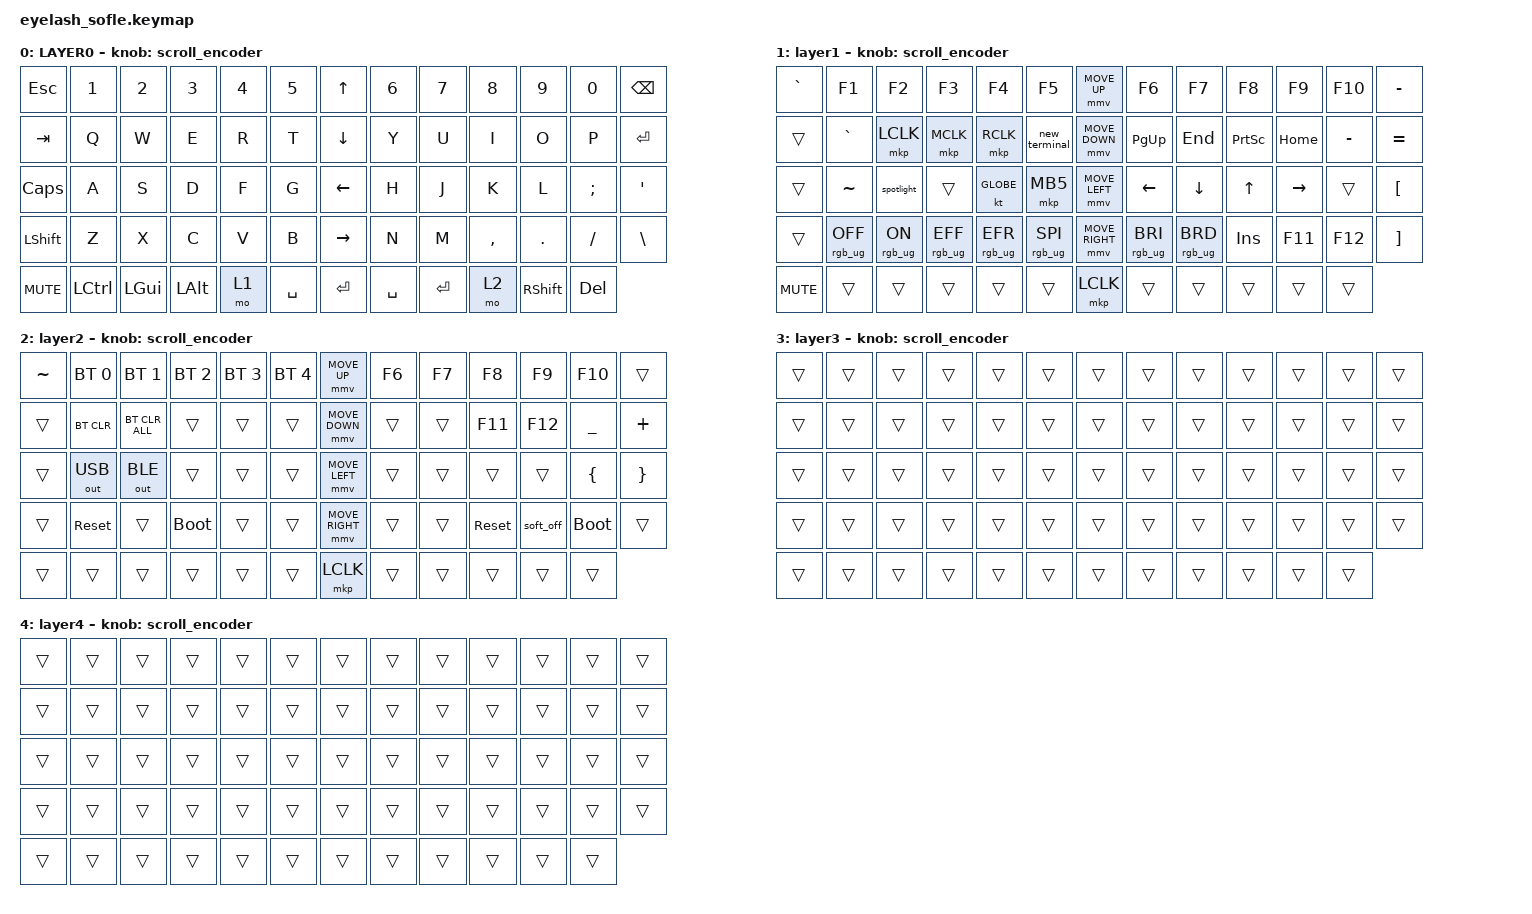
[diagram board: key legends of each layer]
#define ZMK_POINTING_DEFAULT_MOVE_VAL 1200  // 600
#define ZMK_POINTING_DEFAULT_SCRL_VAL 25   // 10

#include <input/processors.dtsi>
#include <zephyr/dt-bindings/input/input-event-codes.h>
#include <behaviors.dtsi>
#include <dt-bindings/zmk/bt.h>
#include <dt-bindings/zmk/keys.h>
#include <dt-bindings/zmk/outputs.h>
#include <dt-bindings/zmk/pointing.h>
#include <dt-bindings/zmk/rgb.h>

&mmv_input_listener { input-processors = <&zip_xy_scaler 2 1>; };

&msc_input_listener { input-processors = <&zip_scroll_scaler 2 1>; };

&msc {
    acceleration-exponent = <1>;      // 0
    time-to-max-speed-ms = <100>;       // 300
    delay-ms = <0>;                   // 0
};

&mmv {
    time-to-max-speed-ms = <500>;
    acceleration-exponent = <1>;
    trigger-period-ms = <16>;
};

&soft_off { hold-time-ms = <2000>; };

/ {
    scroll_encoder: scroll_encoder {
        compatible = "zmk,behavior-sensor-rotate";
        #sensor-binding-cells = <0>;
        bindings = <&msc SCRL_DOWN &msc SCRL_UP>;
        tap-ms = <100>;
    };

    behaviors {
    };

    combos {
        compatible = "zmk,combos";

        softoff {
            bindings = <&soft_off>;
            key-positions = <14 28 40>;
        };
    };

    macros {
        SHIFT_MCLK: SHIFT_MCLK {
            compatible = "zmk,behavior-macro";
            #binding-cells = <0>;
            bindings =
                <&macro_press>,
                <&kp LEFT_SHIFT>,
                <&macro_press>,
                <&mkp MB3>,
                <&macro_pause_for_release>,
                <&macro_release>,
                <&kp LEFT_SHIFT &mkp MB3>;

            label = "SHIFT_MCLK";
        };

        new_terminal: new_terminal {
            compatible = "zmk,behavior-macro";
            #binding-cells = <0>;
            bindings =
                <&macro_press>,
                <&kp LS(LC(GRAVE))>,
                <&macro_release>,
                <&kp LS(LC(GRAVE))>;

            label = "NEW_TERMINAL";
        };

        spotlight: spotlight {
            compatible = "zmk,behavior-macro";
            #binding-cells = <0>;
            bindings =
                <&macro_press>,
                <&kp LG(SPACE)>,
                <&macro_release>,
                <&kp LG(SPACE)>;

            label = "SPOTLIGHT";
        };
    };

    keymap {
        compatible = "zmk,keymap";

        layer0 {
            bindings = <
&kp ESC     &kp N1     &kp N2        &kp N3        &kp N4  &kp N5       &kp UP_ARROW     &kp N6     &kp N7     &kp N8     &kp N9           &kp N0      &kp BACKSPACE
&kp TAB     &kp Q      &kp W         &kp E         &kp R   &kp T        &kp DOWN_ARROW   &kp Y      &kp U      &kp I      &kp O            &kp P       &kp ENTER
&kp CAPS    &kp A      &kp S         &kp D         &kp F   &kp G        &kp LEFT_ARROW   &kp H      &kp J      &kp K      &kp L            &kp SEMI    &kp APOS
&kp LSHFT   &kp Z      &kp X         &kp C         &kp V   &kp B        &kp RIGHT_ARROW  &kp N      &kp M      &kp COMMA  &kp DOT          &kp FSLH    &kp BACKSLASH
&kp K_MUTE  &kp LCTRL  &kp LEFT_GUI  &kp LEFT_ALT  &mo 1   &kp SPACE    &kp ENTER        &kp SPACE  &kp ENTER  &mo 2      &kp RIGHT_SHIFT  &kp DELETE
            >;

            sensor-bindings = <&scroll_encoder>;
            display-name = "LAYER0";
        };

        layer_1 {
            bindings = <
&kp GRAVE   &kp F1           &kp F2          &kp F3           &kp F4           &kp F5             &mmv MOVE_UP     &kp F6           &kp F7           &kp F8           &kp F9     &kp F10    &kp MINUS
&trans      &kp GRAVE        &mkp LCLK       &mkp MCLK        &mkp RCLK        &new_terminal      &mmv MOVE_DOWN   &kp PG_UP        &kp END          &kp PRINTSCREEN  &kp HOME   &kp MINUS  &kp EQUAL
&trans      &kp TILDE        &spotlight      &trans           &kt GLOBE        &mkp MB5           &mmv MOVE_LEFT   &kp LEFT         &kp DOWN         &kp UP           &kp RIGHT  &trans     &kp LEFT_BRACKET
&trans      &rgb_ug RGB_OFF  &rgb_ug RGB_ON  &rgb_ug RGB_EFF  &rgb_ug RGB_EFR  &rgb_ug RGB_SPI    &mmv MOVE_RIGHT  &rgb_ug RGB_BRI  &rgb_ug RGB_BRD  &kp INSERT       &kp F11    &kp F12    &kp RIGHT_BRACKET
&kp C_MUTE  &trans           &trans          &trans           &trans           &trans             &mkp LCLK        &trans           &trans           &trans           &trans     &trans
            >;

            display-name = "layer1";
            sensor-bindings = <&scroll_encoder>;
        };

        layer_2 {
            bindings = <
&kp TILDE  &bt BT_SEL 0  &bt BT_SEL 1    &bt BT_SEL 2  &bt BT_SEL 3  &bt BT_SEL 4    &mmv MOVE_UP     &kp F6  &kp F7  &kp F8      &kp F9     &kp F10      &trans
&trans     &bt BT_CLR    &bt BT_CLR_ALL  &trans        &trans        &trans          &mmv MOVE_DOWN   &trans  &trans  &kp F11     &kp F12    &kp UNDER    &kp PLUS
&trans     &out OUT_USB  &out OUT_BLE    &trans        &trans        &trans          &mmv MOVE_LEFT   &trans  &trans  &trans      &trans     &kp LBRC     &kp RBRC
&trans     &sys_reset    &trans          &bootloader   &trans        &trans          &mmv MOVE_RIGHT  &trans  &trans  &sys_reset  &soft_off  &bootloader  &trans
&trans     &trans        &trans          &trans        &trans        &trans          &mkp LCLK        &trans  &trans  &trans      &trans     &trans
            >;

            display-name = "layer2";
            sensor-bindings = <&scroll_encoder>;
        };

        layer_3 {
            bindings = <
&trans  &trans  &trans  &trans  &trans  &trans    &trans  &trans  &trans  &trans  &trans  &trans  &trans
&trans  &trans  &trans  &trans  &trans  &trans    &trans  &trans  &trans  &trans  &trans  &trans  &trans
&trans  &trans  &trans  &trans  &trans  &trans    &trans  &trans  &trans  &trans  &trans  &trans  &trans
&trans  &trans  &trans  &trans  &trans  &trans    &trans  &trans  &trans  &trans  &trans  &trans  &trans
&trans  &trans  &trans  &trans  &trans  &trans    &trans  &trans  &trans  &trans  &trans  &trans
            >;

            display-name = "layer3";
            sensor-bindings = <&scroll_encoder>;
        };

        layer_4 {
            bindings = <
&trans  &trans  &trans  &trans  &trans  &trans    &trans  &trans  &trans  &trans  &trans  &trans  &trans
&trans  &trans  &trans  &trans  &trans  &trans    &trans  &trans  &trans  &trans  &trans  &trans  &trans
&trans  &trans  &trans  &trans  &trans  &trans    &trans  &trans  &trans  &trans  &trans  &trans  &trans
&trans  &trans  &trans  &trans  &trans  &trans    &trans  &trans  &trans  &trans  &trans  &trans  &trans
&trans  &trans  &trans  &trans  &trans  &trans    &trans  &trans  &trans  &trans  &trans  &trans
            >;

            display-name = "layer4";
            sensor-bindings = <&scroll_encoder>;
        };
    };
};
